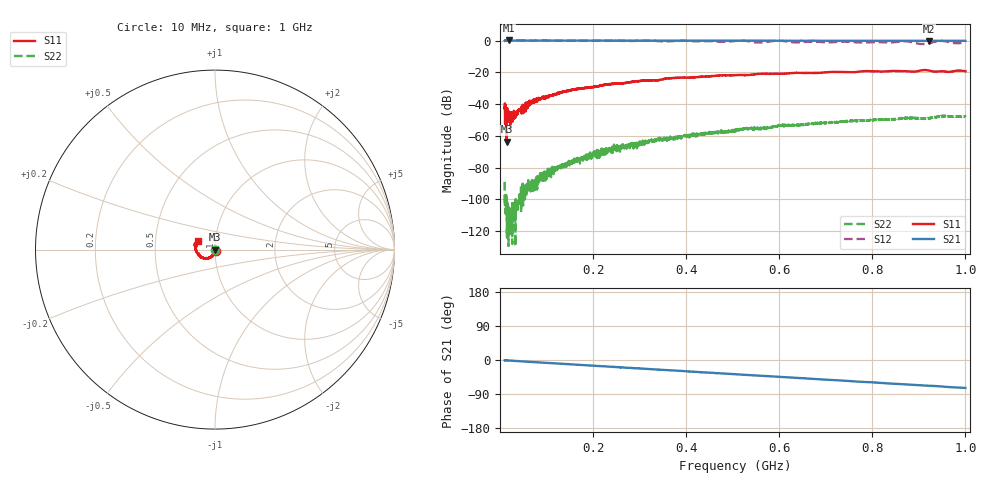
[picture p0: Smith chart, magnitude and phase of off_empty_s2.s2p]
!Agilent Technologies,E8362C,MY43020457,A.09.42.15
!Agilent E8362C: A.09.42.15
!Date: Friday, March 13, 2026 13:56:45
!Correction: S11(Full 2 Port(1,2))
!S21(Full 2 Port(1,2))
!S12(Full 2 Port(1,2))
!S22(Full 2 Port(1,2))
!S2P File: Measurements: S11, S21, S12, S22:
# Hz S  dB  R 50
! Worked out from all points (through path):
!   3201 points, 10 MHz to 1 GHz, reference 50 ohm
!   highest |S21| = 0.04 dB at 19.59 MHz (marker M1); lowest = -0.2 dB at 920.8 MHz (marker M2)
!   group delay of S21, straight-line fit = 205 ps
!   lowest |S11| = -63.7 dB at 14.33 MHz (marker M3), VSWR 1.00, Z = 50 - j0.0639 ohm
!   |S11| at or under -10 dB: start of sweep to end of sweep
!   |S22| runs from -129.4 to -47.2 dB; largest |S21 - S12| = 0.21
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1e7  -42.26 -51.6  -0.07 -0.9  -0.05 -0.1  -88.92 -24.7
1.433125e7  -63.73 -100.8  0.03 -1.1  -0.06 -1.0  -98.64 -13.8
1.959062e7  -46.21 -117.7  0.04 -1.4  -0.01 -1.2  -117.53 -179.0
2.98e7  -44.21 -102.6  0.00 -2.2  0.01 -2.3  -109.32 -18.2
7.094688e7  -37.90 -94.9  -0.01 -5.3  -0.03 -5.7  -92.17 165.3
1.250875e8  -33.50 -100.0  -0.01 -9.4  -0.07 -10.9  -79.06 161.1
1.752062e8  -30.17 -108.9  -0.00 -13.0  -0.04 -14.8  -73.93 167.0
2.361531e8  -27.30 -114.7  -0.02 -17.7  -0.10 -20.2  -68.85 159.0
3.401031e8  -25.03 -126.6  -0.03 -25.5  -0.36 -30.6  -62.26 141.7
5.05e8  -21.77 -145.6  -0.05 -37.3  -0.31 -39.3  -56.59 131.3
5.275844e8  -21.71 -147.9  -0.07 -39.1  -0.20 -46.3  -55.29 128.5
5.458375e8  -21.28 -148.0  -0.09 -40.6  -1.07 -48.2  -54.86 123.1
5.863656e8  -20.97 -156.0  -0.10 -43.4  -0.29 -44.3  -54.32 123.8
6.238e8  -20.54 -159.2  -0.10 -46.4  -0.95 -53.5  -53.42 116.1
6.702062e8  -20.40 -166.5  -0.11 -49.7  -0.62 -53.3  -52.22 113.7
8.351031e8  -19.32 174.4  -0.13 -61.8  -1.24 -63.8  -49.75 97.3
8.734656e8  -19.28 168.5  -0.12 -64.7  -0.51 -69.7  -48.85 95.3
8.932656e8  -19.51 170.0  -0.14 -66.2  -1.60 -74.0  -48.83 90.5
9.208e8  -18.85 160.8  -0.20 -67.9  -1.77 -64.2  -48.93 92.8
9.501906e8  -19.31 159.9  -0.11 -70.0  -0.23 -72.4  -47.59 89.9
9.687531e8  -19.60 160.3  -0.14 -71.6  -1.24 -77.8  -47.77 85.5
1e9  -19.29 152.5  -0.17 -73.7  -1.12 -72.4  -47.90 85.7
